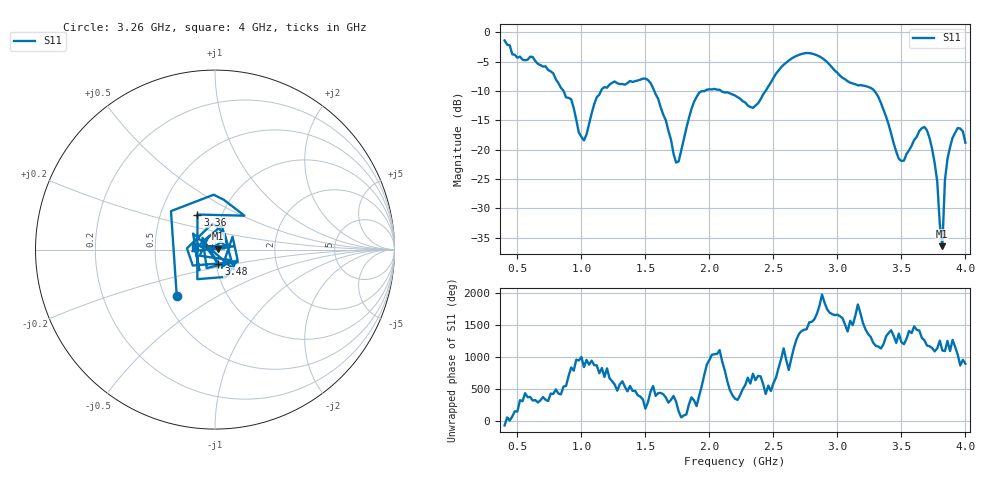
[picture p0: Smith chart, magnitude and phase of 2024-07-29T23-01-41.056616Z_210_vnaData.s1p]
!Created with skrf (http://scikit-rf.org).
# Hz S RI R 50.0
!freq ReS11 ImS11
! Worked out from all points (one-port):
!   181 points, 400 MHz to 4 GHz, reference 50 ohm
!   lowest |S11| = -36.4 dB at 3.82 GHz (marker M1), VSWR 1.03, Z = 51.4 + j0.492 ohm
!   |S11| at or under -10 dB: 1.57 GHz to 1.962 GHz (392.3 MHz wide, 22.2 % of centre); 2.093 GHz to 2.439 GHz (345.7 MHz wide, 15.3 % of centre); 3.289 GHz to end of sweep (the widest 3 of 4)
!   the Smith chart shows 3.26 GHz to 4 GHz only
!   S11 on the Smith chart (normalised r, x): 3.26 GHz: 0.58, -0.34; 3.36 GHz: 0.77, +0.31; 3.48 GHz: 1.03, -0.17; 4 GHz: 0.80, +0.03
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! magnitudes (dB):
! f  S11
! 400 MHz  -1.4
! 720 MHz  -5.8
! 860 MHz  -10.0
! 920 MHz  -11.4
! 1.02 GHz  -18.4
! 1.16 GHz  -9.7
! 1.3 GHz  -8.8
! 1.54 GHz  -8.6
! 1.76 GHz  -22.0
! 1.86 GHz  -13.1
! 1.92 GHz  -10.3
! 2.2 GHz  -10.8
! 2.34 GHz  -12.9
! 2.66 GHz  -4.2
! 2.84 GHz  -3.9
! 3.1 GHz  -8.6
! 3.26 GHz  -9.4
! 3.36 GHz  -13.2
! 3.48 GHz  -21.6
! 3.56 GHz  -20.1
! 3.7 GHz  -16.7
! 3.78 GHz  -25.4
! 3.8 GHz  -32.7
! 3.82 GHz  -36.4
! 3.84 GHz  -25.2
! 3.88 GHz  -19.6
! 3.94 GHz  -16.3
! 4 GHz  -18.8
